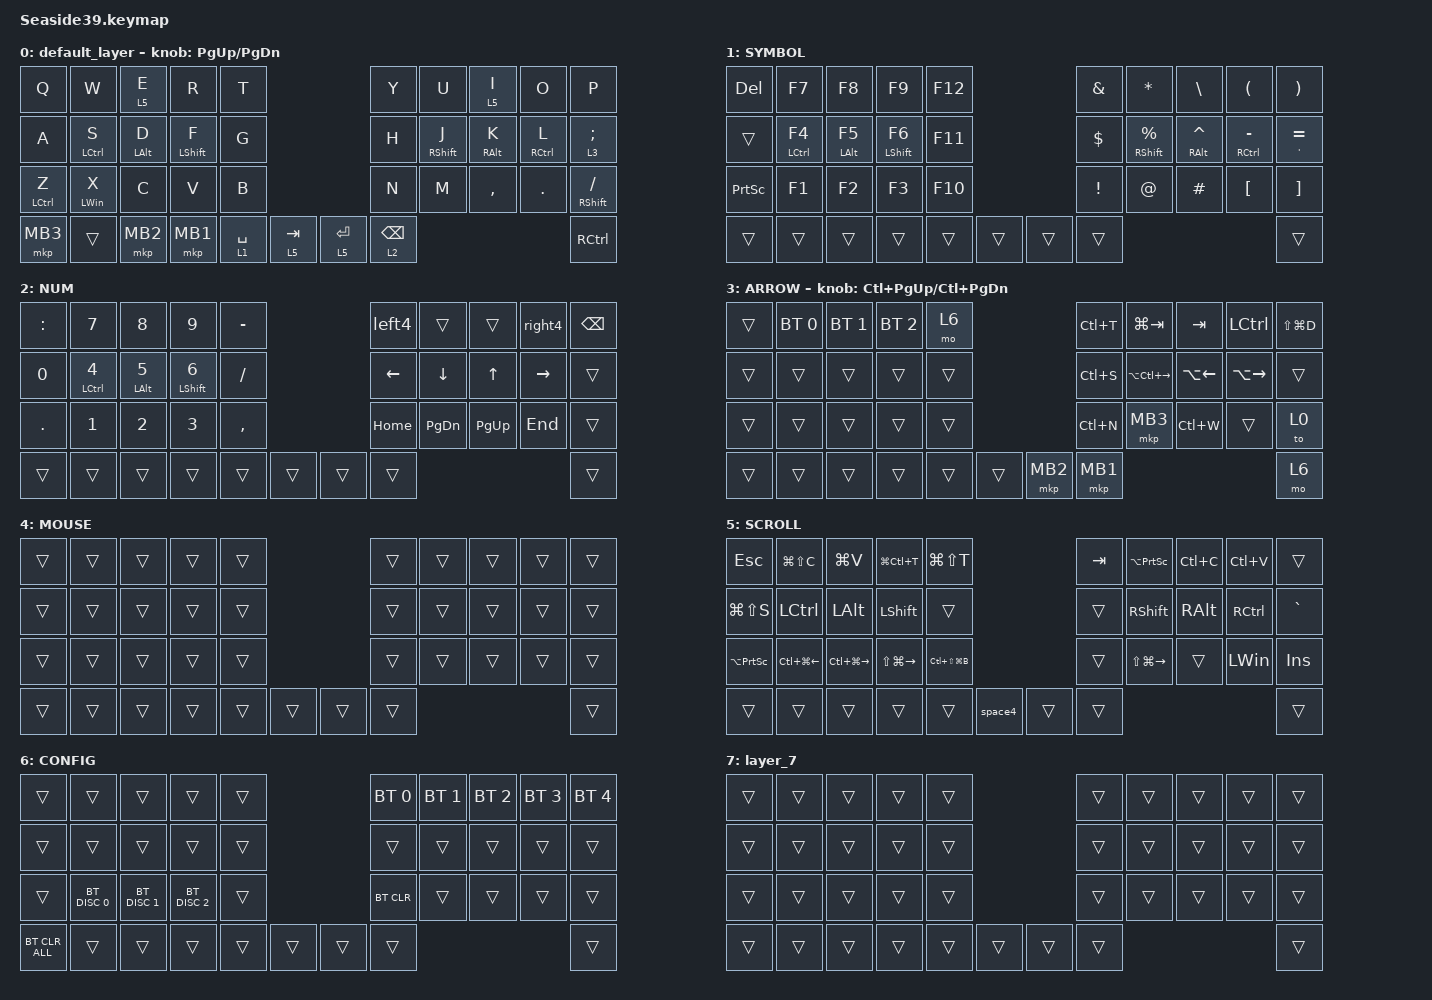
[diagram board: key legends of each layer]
#include <behaviors.dtsi>
#include <dt-bindings/zmk/bt.h>
#include <dt-bindings/zmk/keys.h>
#include <dt-bindings/zmk/pointing.h>

#define MOUSE 4
#define SCROLL 5
#define NUM 6

&mt {
    flavor = "balanced";
    quick-tap-ms = <300>;
};

&lt {
    flavor = "balanced";
    quick-tap-ms = <300>;
};

/ {
    combos {
        compatible = "zmk,combos";

        cmb_esc {
            bindings = <&kp ESC>;
            key-positions = <0 1>;
        };

        cmb_toEng {
            bindings = <&kp LANG2>;
            key-positions = <23 22>;
        };

        cmb_toJp {
            bindings = <&kp LANG1>;
            key-positions = <26 27>;
        };

        cmb_minus {
            bindings = <&kp MINUS>;
            key-positions = <18 19>;
        };

        cmb_single {
            bindings = <&kp SINGLE_QUOTE>;
            key-positions = <29 28>;
        };

        cmb_mb2 {
            bindings = <&mkp MB2>;
            key-positions = <12 13>;
        };

        cmb_mb3 {
            bindings = <&mkp MB3>;
            key-positions = <21 20>;
        };
    };

    macros {
        to_layer_0: to_layer_0 {
            compatible = "zmk,behavior-macro-one-param";
            #binding-cells = <1>;
            bindings = <&to 0 &macro_param_1to1 &kp MACRO_PLACEHOLDER>;
            label = "TO_LAYER_0";
        };

        left4: left4 {
            compatible = "zmk,behavior-macro";
            #binding-cells = <0>;
            bindings = <&kp LEFT &kp LEFT &kp LEFT &kp LEFT>;
            label = "LEFT4";
        };

        right4: right4 {
            compatible = "zmk,behavior-macro";
            #binding-cells = <0>;
            bindings = <&kp RIGHT &kp RIGHT &kp RIGHT &kp RIGHT>;
            label = "RIGHT4";
        };

        space4: space4 {
            compatible = "zmk,behavior-macro";
            #binding-cells = <0>;
            bindings = <&kp SPACE &kp SPACE &kp SPACE &kp SPACE>;
            label = "SPACE4";
        };
    };

    behaviors {
        lt_to_layer_0: lt_to_layer_0 {
            compatible = "zmk,behavior-hold-tap";
            label = "LAYER_TAP_TO_0";
            bindings = <&mo>, <&to_layer_0>;

            #binding-cells = <2>;
            tapping-term-ms = <200>;
        };
    };

    keymap {
        compatible = "zmk,keymap";

        default_layer {
            bindings = <
&kp Q        &kp W        &lt 5 E     &kp R         &kp T                                    &kp Y            &kp U         &lt 5 I     &kp O        &kp P
&kp A        &mt LCTRL S  &mt LALT D  &mt LSHIFT F  &kp G                                    &kp H            &mt RSHIFT J  &mt RALT K  &mt RCTRL L  &lt 3 SEMICOLON
&mt LCTRL Z  &mt LWIN X   &kp C       &kp V         &kp B                                    &kp N            &kp M         &kp COMMA   &kp PERIOD   &mt RSHIFT SLASH
&mkp MB3     &trans       &mkp MB2    &mkp MB1      &lt 1 SPACE  &lt 5 TAB      &lt 5 ENTER  &lt 2 BACKSPACE                                         &kp RCTRL
            >;

            sensor-bindings = <&inc_dec_kp PG_UP PAGE_DOWN>;
        };

        SYMBOL {
            bindings = <
&kp DELETE       &kp F7        &kp F8           &kp F9         &kp F12                      &kp AMPERSAND    &kp ASTERISK        &kp BACKSLASH        &kp LEFT_PARENTHESIS  &kp RIGHT_PARENTHESIS
&trans           &mt LCTRL F4  &mt LEFT_ALT F5  &mt LSHIFT F6  &kp F11                      &kp DOLLAR       &mt RSHIFT PERCENT  &mt RIGHT_ALT CARET  &mt RCTRL MINUS       &mt SINGLE_QUOTE EQUAL
&kp PRINTSCREEN  &kp F1        &kp F2           &kp F3         &kp F10                      &kp EXCLAMATION  &kp AT_SIGN         &kp HASH             &kp LEFT_BRACKET      &kp RIGHT_BRACKET
&trans           &trans        &trans           &trans         &trans   &trans      &trans  &trans                                                                          &trans
            >;
        };

        NUM {
            bindings = <
&kp COLON   &kp N7              &kp N8           &kp N9               &kp MINUS                      &left4    &trans         &trans        &right4    &kp BACKSPACE
&kp N0      &mt LCTRL NUMBER_4  &mt LEFT_ALT N5  &mt LSHIFT NUMBER_6  &kp SLASH                      &kp LEFT  &kp DOWN       &kp UP_ARROW  &kp RIGHT  &trans
&kp PERIOD  &kp NUMBER_1        &kp NUMBER_2     &kp NUMBER_3         &kp COMMA                      &kp HOME  &kp PAGE_DOWN  &kp PAGE_UP   &kp END    &trans
&trans      &trans              &trans           &trans               &trans     &trans      &trans  &trans                                            &trans
            >;
        };

        ARROW {
            bindings = <
&trans  &bt BT_SEL 0  &bt BT_SEL 1  &bt BT_SEL 2  &mo 6                         &kp LC(T)  &kp LG(TAB)        &kp TAB       &kp LCTRL            &kp LS(LG(D))
&trans  &trans        &trans        &trans        &trans                        &kp LC(S)  &kp LA(LC(RIGHT))  &kp LA(LEFT)  &kp LA(RIGHT_ARROW)  &trans
&trans  &trans        &trans        &trans        &trans                        &kp LC(N)  &mkp MB3           &kp LC(W)     &trans               &to 0
&trans  &trans        &trans        &trans        &trans  &trans      &mkp MB2  &mkp MB1                                                         &mo 6
            >;

            sensor-bindings = <&inc_dec_kp LC(PAGE_UP) LC(PAGE_DOWN)>;
        };

        MOUSE {
            bindings = <
&trans  &trans  &trans  &trans  &trans                      &trans  &trans  &trans  &trans  &trans
&trans  &trans  &trans  &trans  &trans                      &trans  &trans  &trans  &trans  &trans
&trans  &trans  &trans  &trans  &trans                      &trans  &trans  &trans  &trans  &trans
&trans  &trans  &trans  &trans  &trans  &trans      &trans  &trans                          &trans
            >;
        };

        SCROLL {
            bindings = <
&kp ESCAPE           &kp LG(LS(C))     &kp LG(V)          &kp LG(LC(T))      &kp LG(LS(T))                           &kp TAB  &kp LA(PRINTSCREEN)  &kp LC(C)      &kp LC(V)  &trans
&kp LG(LS(S))        &kp LCTRL         &kp LEFT_ALT       &kp LSHIFT         &trans                                  &trans   &kp RSHIFT           &kp RIGHT_ALT  &kp RCTRL  &kp GRAVE
&kp LA(PRINTSCREEN)  &kp LC(LG(LEFT))  &kp LC(LG(RIGHT))  &kp LS(LG(RIGHT))  &kp LC(LS(LG(B)))                       &trans   &kp LS(LG(RIGHT))    &trans         &kp LWIN   &kp INSERT
&trans               &trans            &trans             &trans             &trans             &space4      &trans  &trans                                                  &trans
            >;
        };

        CONFIG {
            bindings = <
&trans          &trans         &trans         &trans         &trans                      &bt BT_SEL 0  &bt BT_SEL 1  &bt BT_SEL 2  &bt BT_SEL 3  &bt BT_SEL 4
&trans          &trans         &trans         &trans         &trans                      &trans        &trans        &trans        &trans        &trans
&trans          &bt BT_DISC 0  &bt BT_DISC 1  &bt BT_DISC 2  &trans                      &bt BT_CLR    &trans        &trans        &trans        &trans
&bt BT_CLR_ALL  &trans         &trans         &trans         &trans  &trans      &trans  &trans                                                  &trans
            >;
        };

        layer_7 {
            bindings = <
&trans  &trans  &trans  &trans  &trans                      &trans  &trans  &trans  &trans  &trans
&trans  &trans  &trans  &trans  &trans                      &trans  &trans  &trans  &trans  &trans
&trans  &trans  &trans  &trans  &trans                      &trans  &trans  &trans  &trans  &trans
&trans  &trans  &trans  &trans  &trans  &trans      &trans  &trans                          &trans
            >;
        };
    };
};
